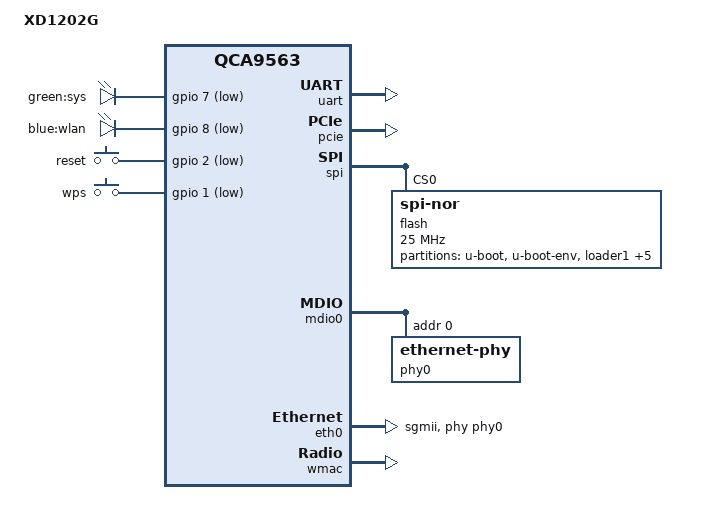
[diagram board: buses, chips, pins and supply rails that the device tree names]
// SPDX-License-Identifier: GPL-2.0-or-later OR MIT
/dts-v1/;

#include <dt-bindings/gpio/gpio.h>
#include <dt-bindings/input/input.h>
#include <dt-bindings/mtd/partitions/uimage.h>

#include "qca956x.dtsi"

/ {
	model = "XD1202G";
	compatible = "xwrt,xd1202g", "qca,qca9563";

	aliases {
		led-boot = &led_sys;
		led-failsafe = &led_sys;
		led-running = &led_sys;
		led-upgrade = &led_sys;
	};

	chosen {
		bootargs = "console=ttyS0,115200n8";
	};

	leds {
		compatible = "gpio-leds";

		led_sys: sys {
			label = "green:sys";
			gpios = <&gpio 7 GPIO_ACTIVE_LOW>;
		};

		wlan2g {
			label = "blue:wlan";
			gpios = <&gpio 8 GPIO_ACTIVE_LOW>;
		};
	};

	keys {
		compatible = "gpio-keys";

		reset {
			linux,code = <KEY_RESTART>;
			gpios = <&gpio 2 GPIO_ACTIVE_LOW>;
			debounce-interval = <60>;
		};

		wps {
			linux,code = <KEY_WPS_BUTTON>;
			gpios = <&gpio 1 GPIO_ACTIVE_LOW>;
			debounce-interval = <60>;
		};
	};
};

&uart {
	status = "okay";
};

&gpio {
	status = "okay";
};

&pcie {
	status = "okay";
};

&spi {
	num-cs = <1>;

	status = "okay";

	flash@0 {
		compatible = "jedec,spi-nor";
		reg = <0>;
		spi-max-frequency = <25000000>;

		partitions {
			compatible = "fixed-partitions";
			#address-cells = <1>;
			#size-cells = <1>;

			partition@0 {
				label = "u-boot";
				reg = <0x000000 0x40000>;
				read-only;
			};

			partition@40000 {
				label = "u-boot-env";
				reg = <0x040000 0x10000>;
				read-only;
			};

			partition@50000 {
				label = "loader1";
				reg = <0x050000 0x010000>;
			};

			partition@60000 {
				compatible = "openwrt,uimage", "denx,uimage";
				openwrt,ih-magic = <IH_MAGIC_OKLI>;
				label = "firmware";
				reg = <0x060000 0xe20000>;
			};

			partition@e80000 {
				label = "loader2";
				reg = <0xe80000 0x010000>;
			};

			partition@e90000 {
				label = "unused";
				reg = <0xe90000 0x160000>;
			};

			partition@1 {
				label = "oem_firmware";
				reg = <0x050000 0xfa0000>;
			};

			art: partition@ff0000 {
				label = "art";
				reg = <0xff0000 0x010000>;
			};
		};
	};
};

&mdio0 {
	status = "okay";

	phy-mask = <0>;

	phy0: ethernet-phy@0 {
		reg = <0>;
		phy-mode = "sgmii";

		qca,ar8327-initvals = <
			0x04 0x00080080 /* PORT0 PAD MODE CTRL */
			0x10 0x81000080 /* POWER_ON_STRIP */
			0x50 0xcc35cc35 /* LED_CTRL0 */
			0x54 0xcb37cb37 /* LED_CTRL1 */
			0x58 0x00000000 /* LED_CTRL2 */
			0x5c 0x00f3cf00 /* LED_CTRL3 */
			0x7c 0x0000007e /* PORT0_STATUS */
			>;
	};
};

&eth0 {
	status = "okay";
	mtd-mac-address = <&art 0x0>;
	nvmem-cells = <&macaddr_art_0>;
	nvmem-cell-names = "mac-address";

	pll-data = <0x03000101 0x00000101 0x00001919>;

	phy-mode = "sgmii";
	phy-handle = <&phy0>;
};

&wmac {
	status = "okay";
	mtd-cal-data = <&art 0x1000>;
};

&art {
	compatible = "nvmem-cells";
	#address-cells = <1>;
	#size-cells = <1>;

	macaddr_art_0: macaddr@0 {
		reg = <0x0 0x6>;
	};
};
